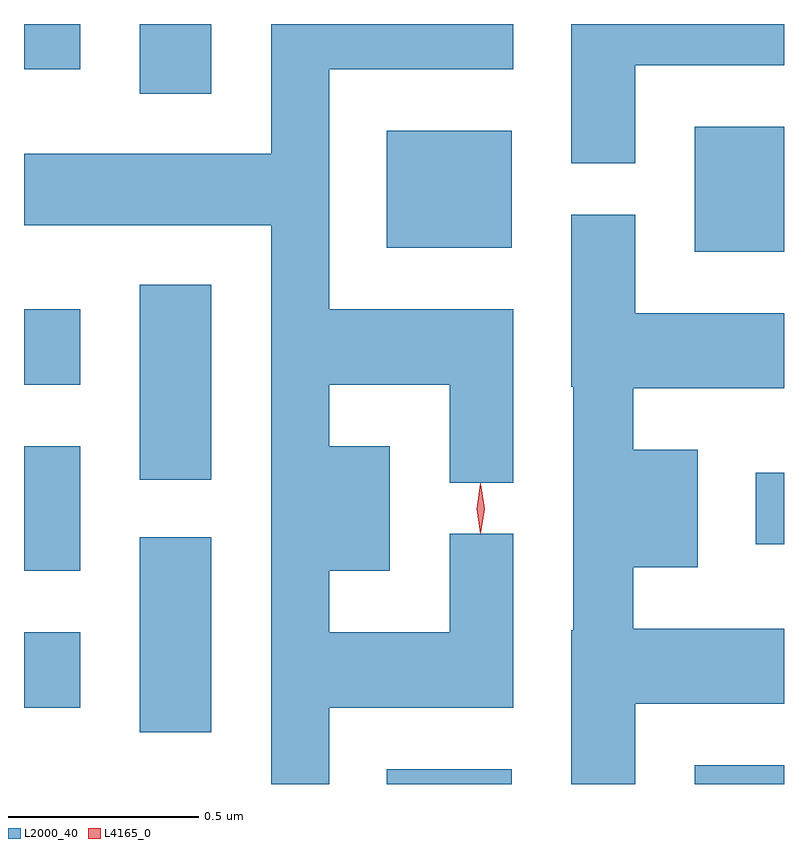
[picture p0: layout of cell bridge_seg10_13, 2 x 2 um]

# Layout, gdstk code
import gdstk
lib = gdstk.Library(unit=1e-6, precision=1e-09)
def R(c, l, rs):  # rectangles x0, y0, x1, y1
    for r in rs: c.add(gdstk.rectangle(r[:2], r[2:], *l))
def P(c, l, *ps):  # polygons
    for p in ps: c.add(gdstk.Polygon(p, *l))
L2000_40 = (2000, 40)
L4165_0 = (4165, 0)

bridge_seg10_13 = lib.new_cell('bridge_seg10_13')
R(bridge_seg10_13, L2000_40, [(1912.546,2175.165,1912.874,2175.204), (1913.356,2175.165,1913.591,2175.214), (1911.896,2175.301,1912.084,2175.814), (1911.591,2175.366,1911.739,2175.564), (1911.591,2175.726,1911.739,2176.054), (1913.516,2175.796,1913.591,2175.984), (1911.896,2175.966,1912.084,2176.479), (1911.591,2176.216,1911.739,2176.414), (1913.356,2176.566,1913.591,2176.894), (1912.546,2176.576,1912.874,2176.884), (1911.896,2176.981,1912.084,2177.165), (1911.591,2177.046,1911.739,2177.165)])
P(bridge_seg10_13, L2000_40, [(1912.394,2175.366),(1912.879,2175.366),(1912.879,2175.823),(1912.711,2175.823),(1912.711,2175.564),(1912.394,2175.564),(1912.394,2175.726),(1912.554,2175.726),(1912.554,2176.054),(1912.394,2176.054),(1912.394,2176.216),(1912.711,2176.216),(1912.711,2175.958),(1912.879,2175.958),(1912.879,2176.414),(1912.394,2176.414),(1912.394,2177.046),(1912.879,2177.046),(1912.879,2177.165),(1912.241,2177.165),(1912.241,2176.824),(1911.591,2176.824),(1911.591,2176.636),(1912.241,2176.636),(1912.241,2175.165),(1912.394,2175.165)],
  [(1913.199,2177.056),(1913.591,2177.056),(1913.591,2177.165),(1913.031,2177.165),(1913.031,2176.798),(1913.199,2176.798)],
  [(1913.199,2175.376),(1913.591,2175.376),(1913.591,2175.574),(1913.194,2175.574),(1913.194,2175.736),(1913.364,2175.736),(1913.364,2176.044),(1913.194,2176.044),(1913.194,2176.206),(1913.591,2176.206),(1913.591,2176.404),(1913.199,2176.404),(1913.199,2176.663),(1913.031,2176.663),(1913.031,2176.21),(1913.036,2176.21),(1913.036,2175.57),(1913.031,2175.57),(1913.031,2175.165),(1913.199,2175.165)])
P(bridge_seg10_13, L4165_0, [(1912.793,2175.824),(1912.792,2175.825),(1912.783,2175.89),(1912.792,2175.955),(1912.793,2175.956),(1912.793,2175.955),(1912.803,2175.89),(1912.793,2175.825)])

lib.write_gds('bridge_seg10_13.gds')
